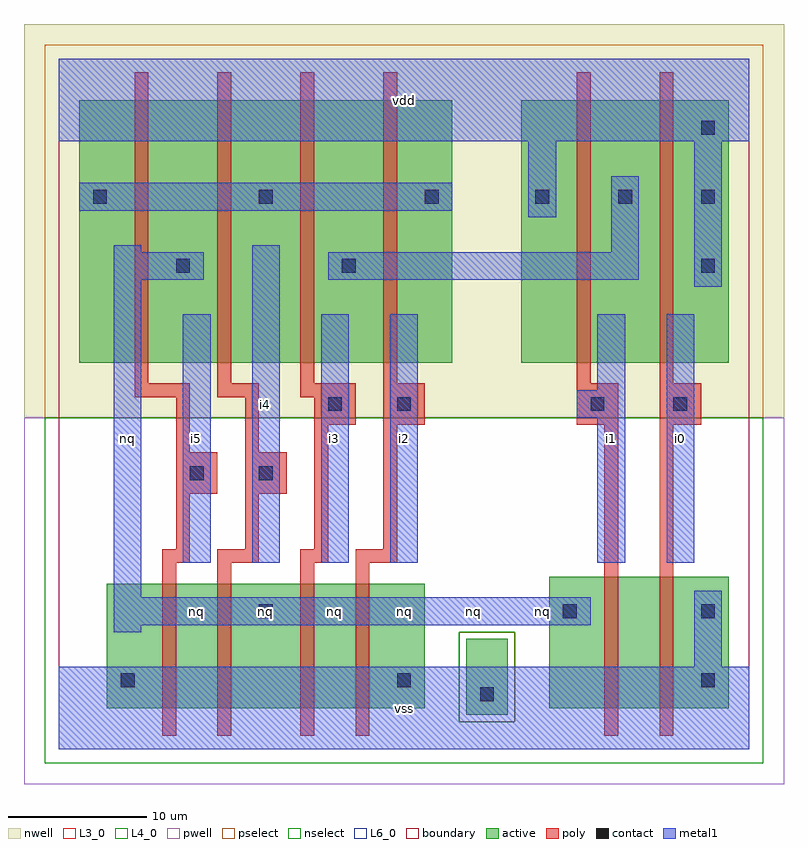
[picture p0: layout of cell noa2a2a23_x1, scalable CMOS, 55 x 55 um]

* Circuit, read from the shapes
.subckt noa2a2a23_x1 i0 i1 i2 i3 i4 i5 nq vdd vss
M1 n1 i5 vss vss nfet w=9u l=1u
M2 nq i4 n1 vss nfet w=9u l=1u
M3 n2 i3 nq vss nfet w=9u l=1u
M4 vss i2 n2 vss nfet w=9u l=1u
M5 n3 i1 nq vss nfet w=9.5u l=1u
M6 vss i0 n3 vss nfet w=9.5u l=1u
M7 nq i5 n4 n5 pfet w=19u l=1u
M8 n4 i4 nq n5 pfet w=19u l=1u
M9 n6 i3 n4 n5 pfet w=19u l=1u
M10 n4 i2 n6 n5 pfet w=19u l=1u
M11 n6 i1 vdd n5 pfet w=19u l=1u
M12 vdd i0 n6 n5 pfet w=19u l=1u
.ends

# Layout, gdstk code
import gdstk
lib = gdstk.Library(unit=1e-6, precision=1e-09)
def R(c, l, rs):  # rectangles x0, y0, x1, y1
    for r in rs: c.add(gdstk.rectangle(r[:2], r[2:], *l))
def A(c, l, x, y, w, h, nx, ny, dx, dy):  # array of equal rectangles
    R(c, l, [(x+i*dx, y+j*dy, x+i*dx+w, y+j*dy+h) for i in range(nx) for j in range(ny)])
L3_0 = (3, 0)
L4_0 = (4, 0)
L6_0 = (6, 0)
contact = (25, 0)
pwell = (41, 0)
nwell = (42, 0)
active = (43, 0)
pselect = (44, 0)
nselect = (45, 0)
poly = (46, 0)
metal1 = (49, 0)
boundary = (63, 0)

noa2a2a23_x1 = lib.new_cell('noa2a2a23_x1')
R(noa2a2a23_x1, L3_0, [(3.5,3,26.5,12), (35.5,3,48.5,12.5)])
R(noa2a2a23_x1, L4_0, [(1.5,28,28.5,47), (33.5,28,48.5,47)])
R(noa2a2a23_x1, L6_0, [(29.5,2.5,32.5,8)])
A(noa2a2a23_x1, contact, 2.5, 39.5, 1, 1, 3, 1, 12, 0)
A(noa2a2a23_x1, contact, 34.5, 39.5, 1, 1, 3, 1, 6, 0)
R(noa2a2a23_x1, contact, [(30.5,3.5,31.5,4.5), (4.5,4.5,5.5,5.5), (24.5,4.5,25.5,5.5), (46.5,4.5,47.5,5.5), (14.5,9.5,15.5,10.5), (36.5,9.5,37.5,10.5), (46.5,9.5,47.5,10.5), (9.5,19.5,10.5,20.5), (14.5,19.5,15.5,20.5), (19.5,24.5,20.5,25.5), (24.5,24.5,25.5,25.5), (38.5,24.5,39.5,25.5), (44.5,24.5,45.5,25.5), (8.5,34.5,9.5,35.5), (20.5,34.5,21.5,35.5), (46.5,34.5,47.5,35.5), (46.5,44.5,47.5,45.5)])
R(noa2a2a23_x1, pwell, [(-2.5,-2.5,52.5,24)])
R(noa2a2a23_x1, nwell, [(-2.5,24,52.5,52.5)])
R(noa2a2a23_x1, active, [(29.5,2.5,32.5,8), (3.5,3,26.5,12), (35.5,3,48.5,12.5), (1.5,28,28.5,47), (33.5,28,48.5,47)])
R(noa2a2a23_x1, pselect, [(29,2,33,8.5), (-1,24,51,51)])
R(noa2a2a23_x1, nselect, [(-1,-1,51,2), (-1,2,29,8.5), (33,2,51,8.5), (-1,8.5,51,24)])
A(noa2a2a23_x1, poly, 5.5, 26.5, 1, 22.5, 4, 1, 6, 0)
R(noa2a2a23_x1, poly, [(7.5,1,8.5,13.5), (11.5,1,12.5,13.5), (17.5,1,18.5,13.5), (21.5,1,22.5,13.5), (39.5,1,40.5,23.5), (43.5,1,44.5,23.5), (7.5,13.5,9.5,14.5), (11.5,13.5,14.5,14.5), (17.5,13.5,19.5,14.5), (21.5,13.5,24.5,14.5), (8.5,14.5,9.5,18.5), (13.5,14.5,14.5,18.5), (18.5,14.5,19.5,23.5), (23.5,14.5,24.5,23.5), (8.5,18.5,11.5,21.5), (13.5,18.5,16.5,21.5), (8.5,21.5,9.5,25.5), (13.5,21.5,14.5,25.5), (18.5,23.5,21.5,25.5), (23.5,23.5,26.5,26.5), (37.5,23.5,40.5,26.5), (43.5,23.5,46.5,26.5), (5.5,25.5,9.5,26.5), (11.5,25.5,14.5,26.5), (17.5,25.5,21.5,26.5), (37.5,26.5,38.5,49), (43.5,26.5,44.5,49)])
R(noa2a2a23_x1, metal1, [(0,0,50,6), (0,0,50,6), (46,6,48,11.5), (46,6,48,11.5), (4,8.5,6,9), (4,8.5,6,9), (4,9,38.5,11), (4,9,38.5,11), (4,11,6,34), (4,11,6,34), (9,13.5,11,31.5), (9,13.5,11,31.5), (14,13.5,16,36.5), (14,13.5,16,36.5), (19,13.5,21,31.5), (19,13.5,21,31.5), (24,13.5,26,31.5), (24,13.5,26,31.5), (39,13.5,41,24), (39,13.5,41,24), (44,13.5,46,31.5), (44,13.5,46,31.5), (37.5,24,41,26), (37.5,24,41,26), (39,26,41,31.5), (39,26,41,31.5), (46,33.5,48,44), (46,33.5,48,44), (4,34,10.5,36), (4,34,10.5,36), (19.5,34,42,36), (19.5,34,42,36), (4,36,6,36.5), (4,36,6,36.5), (40,36,42,41.5), (40,36,42,41.5), (34,38.5,36,44), (34,38.5,36,44), (1.5,39,28.5,41), (1.5,39,28.5,41), (0,44,50,50), (0,44,50,50)])
R(noa2a2a23_x1, boundary, [(0,0,50,50)])
noa2a2a23_x1.add(gdstk.Label('nq', (10,10), layer=49, texttype=0))
noa2a2a23_x1.add(gdstk.Label('nq', (5,22.5), layer=49, texttype=0))
noa2a2a23_x1.add(gdstk.Label('i5', (10,22.5), layer=49, texttype=0))
noa2a2a23_x1.add(gdstk.Label('nq', (15,10), layer=49, texttype=0))
noa2a2a23_x1.add(gdstk.Label('nq', (20,10), layer=49, texttype=0))
noa2a2a23_x1.add(gdstk.Label('i3', (20,22.5), layer=49, texttype=0))
noa2a2a23_x1.add(gdstk.Label('i4', (15,25), layer=49, texttype=0))
noa2a2a23_x1.add(gdstk.Label('nq', (25,10), layer=49, texttype=0))
noa2a2a23_x1.add(gdstk.Label('vss', (25,3), layer=49, texttype=0))
noa2a2a23_x1.add(gdstk.Label('nq', (30,10), layer=49, texttype=0))
noa2a2a23_x1.add(gdstk.Label('nq', (35,10), layer=49, texttype=0))
noa2a2a23_x1.add(gdstk.Label('i2', (25,22.5), layer=49, texttype=0))
noa2a2a23_x1.add(gdstk.Label('vdd', (25,47), layer=49, texttype=0))
noa2a2a23_x1.add(gdstk.Label('i1', (40,22.5), layer=49, texttype=0))
noa2a2a23_x1.add(gdstk.Label('i0', (45,22.5), layer=49, texttype=0))

lib.write_gds('noa2a2a23_x1.gds')
